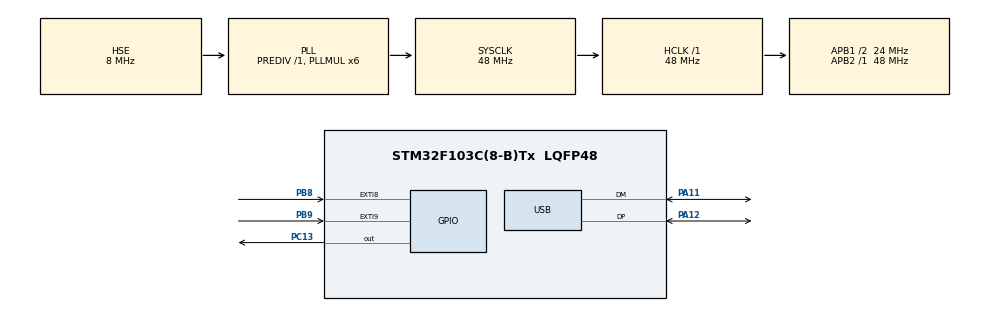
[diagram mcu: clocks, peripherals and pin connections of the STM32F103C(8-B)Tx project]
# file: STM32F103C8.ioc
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Mcu.Family=STM32F1
Mcu.Name=STM32F103C(8-B)Tx
Mcu.Package=LQFP48
NVIC.EXTI9_5_IRQn=true\:0\:0\:false\:false\:true\:true\:true
NVIC.PriorityGroup=NVIC_PRIORITYGROUP_4
NVIC.USB_LP_CAN1_RX0_IRQn=true\:0\:0\:false\:false\:true\:false\:true
PA11.Mode=Device
PA11.Signal=USB_DM
PA12.Mode=Device
PA12.Signal=USB_DP
PA13.Mode=Serial_Wire
PA13.Signal=SYS_JTMS-SWDIO
PA14.Mode=Serial_Wire
PA14.Signal=SYS_JTCK-SWCLK
PB8.GPIO_ModeDefaultEXTI=GPIO_MODE_IT_RISING_FALLING
PB8.Signal=GPXTI8
PB9.GPIO_ModeDefaultEXTI=GPIO_MODE_IT_RISING_FALLING
PB9.Signal=GPXTI9
PC13-TAMPER-RTC.GPIO_ModeDefaultOutputPP=GPIO_MODE_OUTPUT_OD
PC13-TAMPER-RTC.Signal=GPIO_Output
PC14-OSC32_IN.Mode=LSE-External-Oscillator
PC14-OSC32_IN.Signal=RCC_OSC32_IN
PC15-OSC32_OUT.Mode=LSE-External-Oscillator
PC15-OSC32_OUT.Signal=RCC_OSC32_OUT
PD0-OSC_IN.Mode=HSE-External-Oscillator
PD0-OSC_IN.Signal=RCC_OSC_IN
PD1-OSC_OUT.Mode=HSE-External-Oscillator
PD1-OSC_OUT.Signal=RCC_OSC_OUT
ProjectManager.HeapSize=0x200
ProjectManager.StackSize=0x400
ProjectManager.TargetToolchain=STM32CubeIDE
RCC.AHBFreq_Value=48000000
RCC.APB1CLKDivider=RCC_HCLK_DIV2
RCC.APB1Freq_Value=24000000
RCC.APB1TimFreq_Value=48000000
RCC.APB2Freq_Value=48000000
RCC.APB2TimFreq_Value=48000000
RCC.HCLKFreq_Value=48000000
RCC.PLLMUL=RCC_PLL_MUL6
RCC.PLLSourceVirtual=RCC_PLLSOURCE_HSE
RCC.SYSCLKFreq_VALUE=48000000
RCC.SYSCLKSource=RCC_SYSCLKSOURCE_PLLCLK
RCC.USBFreq_Value=48000000
USB_DEVICE.CLASS_NAME_FS=CUSTOM_HID
USB_DEVICE.MANUFACTURER_STRING=MaksymVeremeyenko
USB_DEVICE.PID_CUSTOMHID_FS=32849
USB_DEVICE.PRODUCT_STRING_CUSTOMHID_FS=Lens Rotary Decoder
USB_DEVICE.USBD_CUSTOMHID_OUTREPORT_BUF_SIZE=8
USB_DEVICE.USBD_CUSTOM_HID_REPORT_DESC_SIZE=8
USB_DEVICE.VID=1204
USB_DEVICE.VirtualMode=CustomHid
USB_DEVICE.VirtualModeFS=Custom_Hid_FS
VP_USB_DEVICE_VS_USB_DEVICE_CUSTOM_HID_FS.Mode=CUSTOM_HID_FS
board=custom

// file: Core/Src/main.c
/* USER CODE BEGIN Header */
/**
  ******************************************************************************
  * @file           : main.c
  * @brief          : Main program body
  ******************************************************************************
  * @attention
  *
  * <h2><center>&copy; Copyright (c) 2021 STMicroelectronics.
  * All rights reserved.</center></h2>
  *
  * This software component is licensed by ST under BSD 3-Clause license,
  * the "License"; You may not use this file except in compliance with the
  * License. You may obtain a copy of the License at:
  *                        opensource.org/licenses/BSD-3-Clause
  *
  ******************************************************************************
  */
/* USER CODE END Header */
#include "main.h"
#include "usb_device.h"

/* USER CODE BEGIN Includes */
#include "usbd_customhid.h"
/* USER CODE END Includes */

void SystemClock_Config(void);
static void MX_GPIO_Init(void);

/* USER CODE BEGIN 0 */
extern USBD_HandleTypeDef hUsbDeviceFS;

static struct
{
	uint8_t s1, s2, rot;
	int16_t value;
} instance;

int8_t CUSTOM_HID_OutEvent_FS_main(uint8_t* buf)
{
	instance.s1 = buf[0];
	instance.s2 = buf[1];

	instance.value = buf[2];
	instance.value <<= 8;
	instance.value |= buf[3];

	return (USBD_OK);
};

void HAL_GPIO_EXTI_Callback(uint16_t GPIO_Pin)
{
	if(GPIO_Pin != GPIO_PIN_9 && GPIO_Pin != GPIO_PIN_8)
		return;

/*
 * CW
 *
 * 00	10
 * 01	00
 * 10	11
 * 11	01
 *
 * CCW
 *
 * 00	01
 * 01	11
 * 10	00
 * 11	10
 *
 * MAP
 *
 * 00	00	 0
 * 00	01	-1
 * 00	10	+1
 * 00	11	 0
 * 01	00	+1
 * 01	01	 0
 * 01	10	 0
 * 01	11	-1
 * 10	00	-1
 * 10	01	 0
 * 10	10	 0
 * 10	11	+1
 * 11	00	 0
 * 11	01	+1
 * 11	10	-1
 * 11	11	 0
 *
 */

	static const int8_t r[16] = { 0, -1, 1, 0, 1, 0, 0, -1, -1, 0, 0, 1, 0, 1, -1, 0 };

	instance.rot <<= 1;
	instance.rot |= HAL_GPIO_ReadPin(GPIOB, GPIO_PIN_8);
	instance.rot <<= 1;
	instance.rot |= HAL_GPIO_ReadPin(GPIOB, GPIO_PIN_9);

	instance.value += r[ instance.rot & 0x0F ];
};
/* USER CODE END 0 */

int main(void)
{
  /* USER CODE BEGIN 1 */
	int led_cnt = 0;
  /* USER CODE END 1 */

  /* MCU Configuration--------------------------------------------------------*/

  /* Reset of all peripherals, Initializes the Flash interface and the Systick. */
  HAL_Init();

  /* Configure the system clock */
  SystemClock_Config();

  /* Initialize all configured peripherals */
  MX_GPIO_Init();
  MX_USB_DEVICE_Init();

  /* Infinite loop */
  /* USER CODE BEGIN WHILE */
  while (1)
  {
	  uint8_t buf[4];
    /* USER CODE END WHILE */

    /* USER CODE BEGIN 3 */
	  buf[0] = instance.s1;
	  buf[1] = instance.s2;
	  buf[3] = instance.value >> 0;
	  buf[2] = instance.value >> 8;

	  USBD_CUSTOM_HID_SendReport(&hUsbDeviceFS, buf, 4);  //run as USB mouse
	  HAL_Delay(10);

	  if(!(led_cnt % 10))
		  HAL_GPIO_TogglePin(GPIOC, GPIO_PIN_13);
	  led_cnt++;
  }
  /* USER CODE END 3 */
}

void SystemClock_Config(void)
{
  RCC_OscInitTypeDef RCC_OscInitStruct = {0};
  RCC_ClkInitTypeDef RCC_ClkInitStruct = {0};
  RCC_PeriphCLKInitTypeDef PeriphClkInit = {0};

  /** Initializes the RCC Oscillators according to the specified parameters
  * in the RCC_OscInitTypeDef structure.
  */
  RCC_OscInitStruct.OscillatorType = RCC_OSCILLATORTYPE_HSE;
  RCC_OscInitStruct.HSEState = RCC_HSE_ON;
  RCC_OscInitStruct.HSEPredivValue = RCC_HSE_PREDIV_DIV1;
  RCC_OscInitStruct.HSIState = RCC_HSI_ON;
  RCC_OscInitStruct.PLL.PLLState = RCC_PLL_ON;
  RCC_OscInitStruct.PLL.PLLSource = RCC_PLLSOURCE_HSE;
  RCC_OscInitStruct.PLL.PLLMUL = RCC_PLL_MUL6;
  if (HAL_RCC_OscConfig(&RCC_OscInitStruct) != HAL_OK)
  {
    Error_Handler();
  }
  /** Initializes the CPU, AHB and APB buses clocks
  */
  RCC_ClkInitStruct.ClockType = RCC_CLOCKTYPE_HCLK|RCC_CLOCKTYPE_SYSCLK
                              |RCC_CLOCKTYPE_PCLK1|RCC_CLOCKTYPE_PCLK2;
  RCC_ClkInitStruct.SYSCLKSource = RCC_SYSCLKSOURCE_PLLCLK;
  RCC_ClkInitStruct.AHBCLKDivider = RCC_SYSCLK_DIV1;
  RCC_ClkInitStruct.APB1CLKDivider = RCC_HCLK_DIV2;
  RCC_ClkInitStruct.APB2CLKDivider = RCC_HCLK_DIV1;

  if (HAL_RCC_ClockConfig(&RCC_ClkInitStruct, FLASH_LATENCY_1) != HAL_OK)
  {
    Error_Handler();
  }
  PeriphClkInit.PeriphClockSelection = RCC_PERIPHCLK_USB;
  PeriphClkInit.UsbClockSelection = RCC_USBCLKSOURCE_PLL;
  if (HAL_RCCEx_PeriphCLKConfig(&PeriphClkInit) != HAL_OK)
  {
    Error_Handler();
  }
}

static void MX_GPIO_Init(void)
{
  GPIO_InitTypeDef GPIO_InitStruct = {0};

  /* GPIO Ports Clock Enable */
  __HAL_RCC_GPIOC_CLK_ENABLE();
  __HAL_RCC_GPIOD_CLK_ENABLE();
  __HAL_RCC_GPIOA_CLK_ENABLE();
  __HAL_RCC_GPIOB_CLK_ENABLE();

  /*Configure GPIO pin Output Level */
  HAL_GPIO_WritePin(GPIOC, GPIO_PIN_13, GPIO_PIN_RESET);

  /*Configure GPIO pin : PC13 */
  GPIO_InitStruct.Pin = GPIO_PIN_13;
  GPIO_InitStruct.Mode = GPIO_MODE_OUTPUT_OD;
  GPIO_InitStruct.Pull = GPIO_NOPULL;
  GPIO_InitStruct.Speed = GPIO_SPEED_FREQ_LOW;
  HAL_GPIO_Init(GPIOC, &GPIO_InitStruct);

  /*Configure GPIO pins : PB8 PB9 */
  GPIO_InitStruct.Pin = GPIO_PIN_8|GPIO_PIN_9;
  GPIO_InitStruct.Mode = GPIO_MODE_IT_RISING_FALLING;
  GPIO_InitStruct.Pull = GPIO_NOPULL;
  HAL_GPIO_Init(GPIOB, &GPIO_InitStruct);

  /* EXTI interrupt init*/
  HAL_NVIC_SetPriority(EXTI9_5_IRQn, 0, 0);
  HAL_NVIC_EnableIRQ(EXTI9_5_IRQn);

}

void Error_Handler(void)
{
  __disable_irq();
  while (1)
  {
  }
}

/************************ (C) COPYRIGHT STMicroelectronics *****END OF FILE****/
